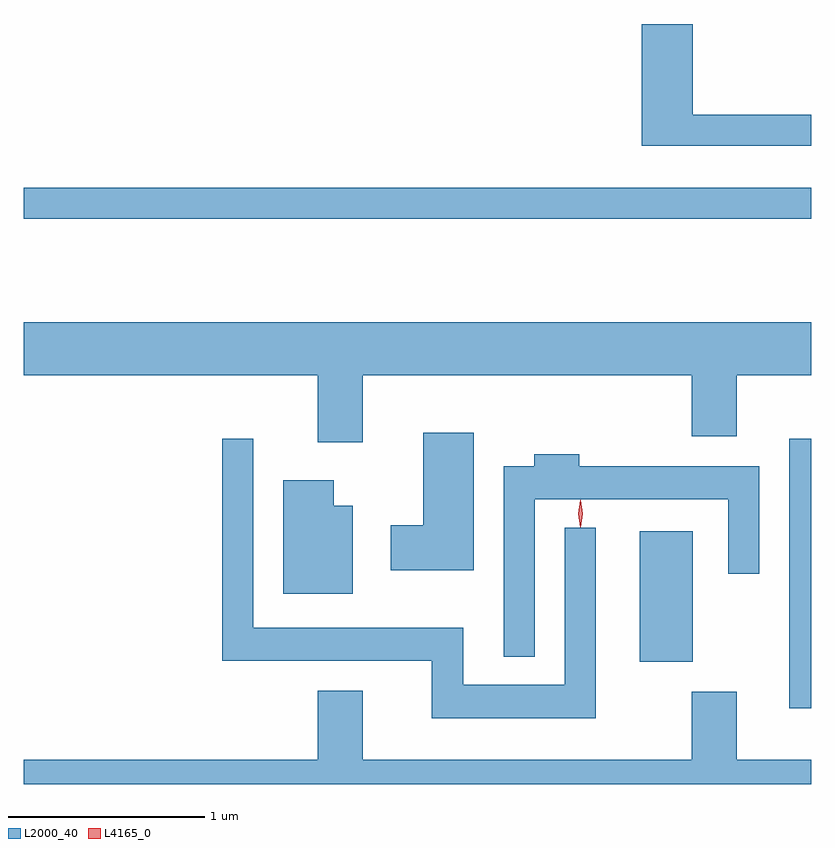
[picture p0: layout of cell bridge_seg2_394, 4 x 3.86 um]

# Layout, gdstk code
import gdstk
lib = gdstk.Library(unit=1e-6, precision=1e-09)
def R(c, l, rs):  # rectangles x0, y0, x1, y1
    for r in rs: c.add(gdstk.rectangle(r[:2], r[2:], *l))
def P(c, l, *ps):  # polygons
    for p in ps: c.add(gdstk.Polygon(p, *l))
L2000_40 = (2000, 40)
L4165_0 = (4165, 0)

bridge_seg2_394 = lib.new_cell('bridge_seg2_394')
R(bridge_seg2_394, L2000_40, [(625.606,1013.326,625.718,1014.693), (624.846,1013.561,625.114,1014.224), (621.718,1015.811,625.718,1015.969)])
P(bridge_seg2_394, L2000_40, [(625.718,1016.339),(625.114,1016.339),(625.114,1016.799),(624.856,1016.799),(624.856,1016.181),(625.718,1016.181)],
  [(623.439,1015.016),(625.111,1015.016),(625.111,1014.706),(625.339,1014.706),(625.339,1015.016),(625.718,1015.016),(625.718,1015.284),(621.718,1015.284),(621.718,1015.016),(623.211,1015.016),(623.211,1014.676),(623.439,1014.676)],
  [(624.004,1014.724),(623.746,1014.724),(623.746,1014.254),(623.581,1014.254),(623.581,1014.026),(624.004,1014.026)],
  [(624.624,1014.243),(624.466,1014.243),(624.466,1013.444),(623.949,1013.444),(623.949,1013.734),(622.884,1013.734),(622.884,1014.693),(622.726,1014.693),(622.726,1013.566),(623.791,1013.566),(623.791,1013.276),(624.624,1013.276)],
  [(624.314,1014.386),(625.296,1014.386),(625.296,1014.008),(625.454,1014.008),(625.454,1014.554),(624.539,1014.554),(624.539,1014.614),(624.311,1014.614),(624.311,1014.554),(624.156,1014.554),(624.156,1013.588),(624.314,1013.588)],
  [(623.389,1014.354),(623.294,1014.354),(623.294,1014.484),(623.036,1014.484),(623.036,1013.906),(623.389,1013.906)],
  [(625.718,1013.064),(625.339,1013.064),(625.339,1013.409),(625.111,1013.409),(625.111,1013.064),(623.439,1013.064),(623.439,1013.414),(623.211,1013.414),(623.211,1013.064),(621.718,1013.064),(621.718,1012.941),(625.718,1012.941)])
P(bridge_seg2_394, L4165_0, [(624.547,1014.247),(624.546,1014.248),(624.537,1014.314),(624.546,1014.38),(624.547,1014.381),(624.547,1014.38),(624.557,1014.314),(624.547,1014.248)],
  [(624.545,1014.244),(624.535,1014.313),(624.545,1014.382),(624.546,1014.383),(624.546,1014.382),(624.556,1014.313),(624.546,1014.244),(624.546,1014.244)])

lib.write_gds('bridge_seg2_394.gds')
